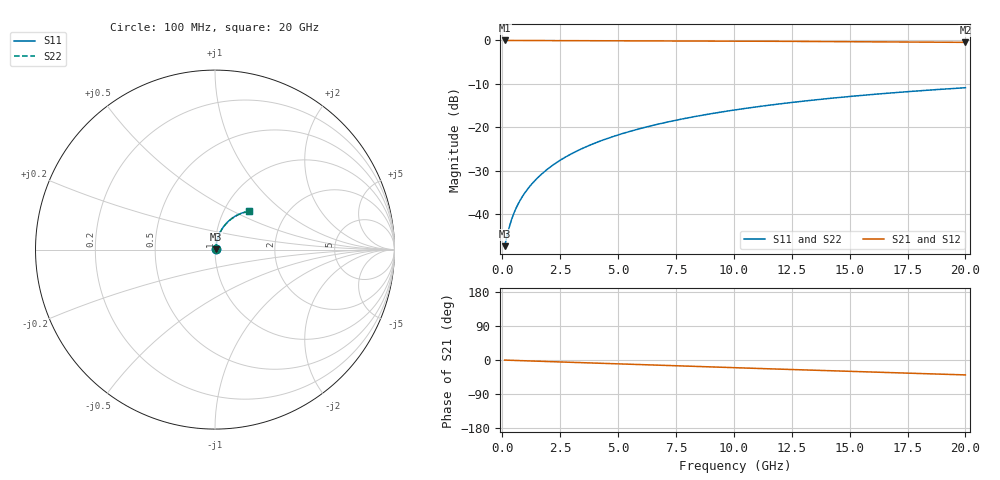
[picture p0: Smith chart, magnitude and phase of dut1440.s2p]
! Touchstone file exported from HFSS 2026.1.0
!  File:  C:/ffzhzh/LocalFiles/Ansys_Project_Files/temp_train_BSMRDL_1440_1783180546_51560.aedt
!  Generated:  11:56:57 PM Jul  4, 2026
!  Design:  BSMRDL
!  Project:  temp_train_BSMRDL_1440_1783180546_51560
! Variables:
!  h_bsmrdl = 2.32um
!  h_ox = 20um
!  h_rdl = 5um
!  h_sub = 80um
!  h_tmrdl = 5um
!  h_tsv = 80um
!  h_via = 3um
!  l_bsmrdl = 606.04um
!  l_sub = 1006.04um
!  l_tmrdl = 200um
!  m_sub = 200um
!  pitch = 43.76um
!  r_tsv = 6um
!  s_tmrdl = 10um
!  w_bsmrdl = 26.86um
!  w_sub = 500um
!  w_tmrdl = 12um
!  x_tsv_center1 = 206um
!  x_tsv_center2 = 838.9um
!  x_tsv_center3 = 1050.9um
!  x_tsv_center4 = 1683.8um
!  x_tsv_center5 = 1895.8um
!  x_tsv_center6 = 2528.7um
# GHz S MA R 50.000000
! Terminal data exported
! Port[1] = BSM_RDL1_1_T1
! Port[2] = BSM_RDL1_1_T2
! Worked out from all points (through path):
!   200 points, 100 MHz to 20 GHz, reference 50 ohm
!   highest |S21| = -0.03 dB at 100 MHz (marker M1); lowest = -0.5 dB at 20 GHz (marker M2)
!   group delay of S21, straight-line fit = 5.47 ps
!   lowest |S11| = -47.4 dB at 100 MHz (marker M3), VSWR 1.01, Z = 50.4 + j0.197 ohm
!   |S11| at or under -10 dB: start of sweep to end of sweep
!   |S22| runs from -47.4 to -10.9 dB; largest |S21 - S12| = 2.6e-15
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0.1  0.004268 27.3  0.9962 -0.2  0.9962 -0.2  0.004268 27.3
! Gamma 0 0 0 0
! Port Impedance 50 0 50 0
0.3  0.007059 53.3  0.9958 -0.7  0.9958 -0.7  0.007059 53.3
0.4  0.008637 58.7  0.9956 -0.9  0.9956 -0.9  0.008637 58.7
0.5  0.01021 62.3  0.9954 -1.1  0.9954 -1.1  0.01021 62.3
0.6  0.01176 64.9  0.9952 -1.3  0.9952 -1.3  0.01176 64.9
0.8  0.01485 68.6  0.9949 -1.7  0.9949 -1.7  0.01485 68.6
1  0.01793 71.1  0.9947 -2.1  0.9947 -2.1  0.01793 71.1
1.2  0.02103 72.9  0.9945 -2.5  0.9945 -2.5  0.02103 72.9
1.4  0.02416 74.2  0.9943 -2.9  0.9943 -2.9  0.02416 74.2
1.7  0.02888 75.5  0.9941 -3.5  0.9941 -3.5  0.02889 75.5
2.2  0.03682 76.7  0.9937 -4.5  0.9937 -4.5  0.03683 76.6
2.8  0.0464 77.1  0.9932 -5.8  0.9932 -5.8  0.04641 77.1
3.5  0.05759 76.9  0.9924 -7.2  0.9924 -7.2  0.0576 76.9
4.2  0.06875 76.3  0.9915 -8.6  0.9915 -8.6  0.06875 76.2
5  0.08142 75.4  0.9904 -10.2  0.9904 -10.2  0.08142 75.3
5.9  0.09553 74.0  0.9888 -12.1  0.9888 -12.1  0.09554 73.9
6.8  0.1095 72.6  0.9871 -13.9  0.9871 -13.9  0.1095 72.4
8.3  0.1323 70.0  0.9838 -16.9  0.9838 -16.9  0.1323 69.8
10.1  0.1588 66.7  0.9792 -20.4  0.9792 -20.4  0.1588 66.5
13.4  0.2047 60.7  0.9695 -26.9  0.9695 -26.9  0.2047 60.4
16.7  0.2468 54.6  0.9586 -33.2  0.9586 -33.2  0.2468 54.3
20  0.2846 48.7  0.9473 -39.3  0.9473 -39.3  0.2847 48.3
